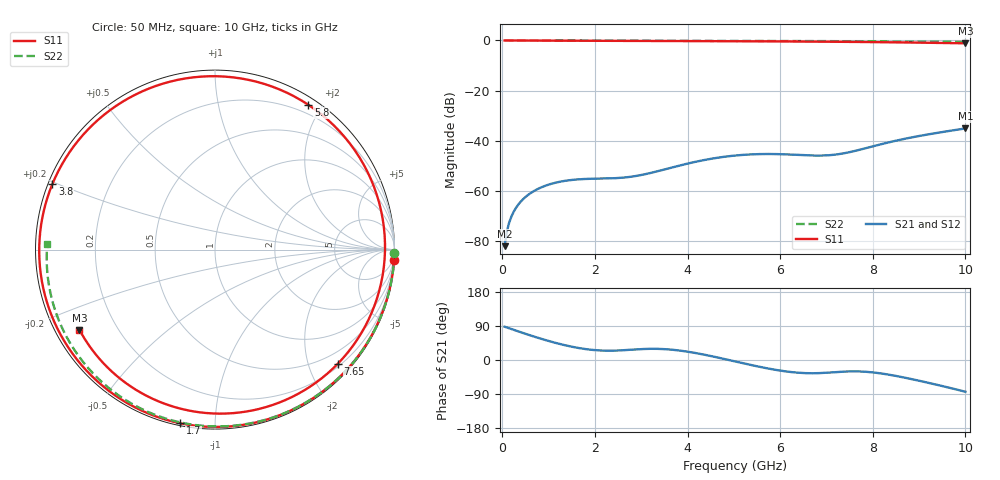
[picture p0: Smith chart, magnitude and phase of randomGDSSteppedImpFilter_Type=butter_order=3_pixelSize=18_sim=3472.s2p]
! freq	dB(S11)	phase(S11)	dB(S12)	phase(S12)
!  dB(S21)	phase(S21)	dB(S22)	phase(S22)
!S-par simulation data
#  GHz  S  DB  R 50
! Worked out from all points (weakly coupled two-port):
!   200 points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, 50 MHz to 10 GHz, reference 50 ohm
!   highest |S21| = -35.14 dB at 10 GHz (marker M1); lowest = -82.2 dB at 50 MHz (marker M2)
!   lowest |S11| = -1.1 dB at 10 GHz (marker M3), VSWR 15.34, Z = 3.5 - j13.6 ohm
!   |S11| at or under -10 dB: nowhere
!   |S22| runs from -0.6 to 0.0 dB; largest |S21 - S12| = 0
!   S11 on the Smith chart (normalised r, x): 50 MHz: 0, -35; 1.7 GHz: 0.01, -0.82; 3.8 GHz: 0.01, +0.19; 5.8 GHz: 0.09, +1.83; 7.65 GHz: 0.25, -2.53; 10 GHz: 0.07, -0.27
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0.05  -0.00 -3.2  -82.15 87.9  -82.15 87.9  -0.00 -1.1
0.15  -0.01 -9.7  -72.64 83.6  -72.64 83.6  -0.00 -3.2
0.25  -0.03 -16.0  -68.26 79.4  -68.26 79.4  -0.01 -5.3
0.55  -0.05 -34.9  -61.77 67.1  -61.77 67.1  -0.02 -11.6
1.1  -0.08 -68.0  -57.04 46.8  -57.04 46.8  -0.03 -23.0
1.7  -0.11 -101.3  -55.40 30.6  -55.40 30.6  -0.04 -35.3
1.75  -0.12 -104.0  -55.35 29.7  -55.35 29.7  -0.05 -36.3
2.6  -0.15 -146.3  -54.80 25.7  -54.80 25.7  -0.07 -53.2
3  -0.17 -165.1  -53.74 28.7  -53.74 28.7  -0.08 -61.0
3.4  -0.18 176.5  -52.01 29.2  -52.01 29.2  -0.09 -68.6
3.8  -0.20 158.0  -50.09 25.4  -50.09 25.4  -0.10 -76.1
4.5  -0.25 124.6  -47.28 10.6  -47.28 10.6  -0.13 -88.8
5.05  -0.29 97.1  -45.92 -4.4  -45.92 -4.4  -0.15 -98.5
5.4  -0.32 78.8  -45.48 -14.0  -45.48 -14.0  -0.17 -104.5
5.8  -0.36 57.2  -45.35 -23.8  -45.35 -23.8  -0.19 -111.3
6.25  -0.40 32.4  -45.59 -32.0  -45.59 -32.0  -0.21 -118.9
6.7  -0.45 7.6  -45.95 -35.0  -45.95 -35.0  -0.24 -126.4
7.15  -0.51 -16.8  -45.67 -32.4  -45.67 -32.4  -0.28 -133.9
7.65  -0.59 -42.8  -43.96 -30.0  -43.96 -30.0  -0.32 -142.1
8.35  -0.72 -76.9  -40.67 -38.7  -40.67 -38.7  -0.39 -153.7
9.1  -0.90 -110.6  -37.82 -57.4  -37.82 -57.4  -0.47 -166.3
10  -1.13 -149.4  -35.14 -83.8  -35.14 -83.8  -0.58 178.0
